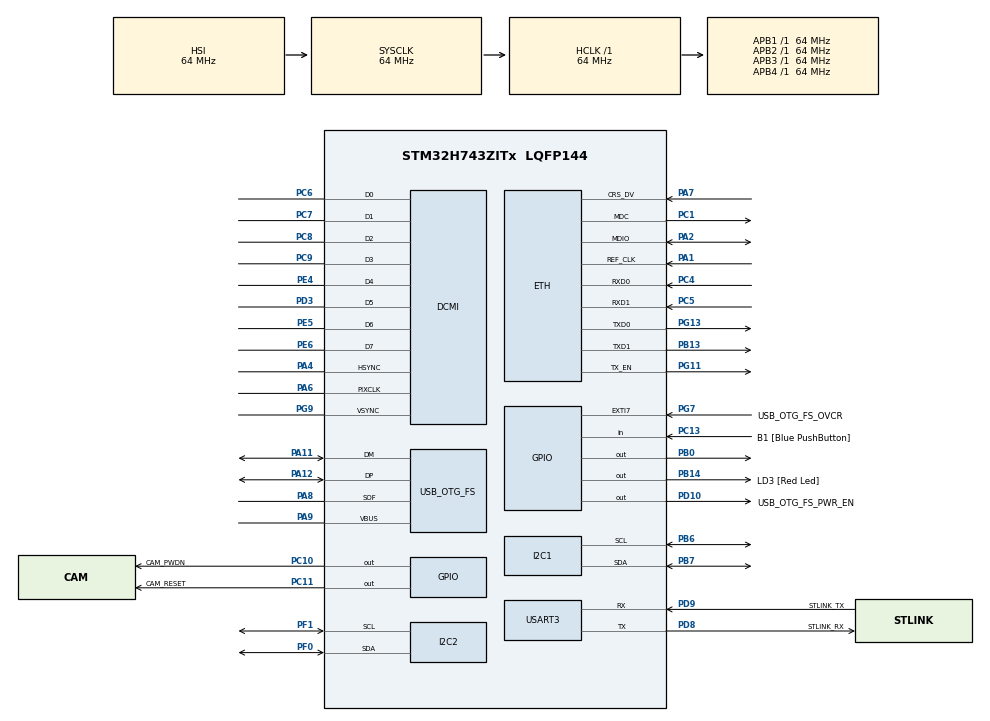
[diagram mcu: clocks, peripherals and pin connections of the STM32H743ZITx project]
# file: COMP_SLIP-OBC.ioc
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DCMI.HSPolarity=DCMI_HSPOLARITY_LOW
DCMI.JPEGMode=DCMI_JPEG_ENABLE
DCMI.PCKPolarity=DCMI_PCKPOLARITY_RISING
DCMI.VSPolarity=DCMI_VSPOLARITY_LOW
Dma.DCMI.0.Direction=DMA_PERIPH_TO_MEMORY
Dma.DCMI.0.EventEnable=DISABLE
Dma.DCMI.0.FIFOMode=DMA_FIFOMODE_ENABLE
Dma.DCMI.0.FIFOThreshold=DMA_FIFO_THRESHOLD_FULL
Dma.DCMI.0.Instance=DMA1_Stream0
Dma.DCMI.0.MemBurst=DMA_MBURST_SINGLE
Dma.DCMI.0.MemDataAlignment=DMA_MDATAALIGN_BYTE
Dma.DCMI.0.MemInc=DMA_MINC_ENABLE
Dma.DCMI.0.Mode=DMA_CIRCULAR
Dma.DCMI.0.PeriphBurst=DMA_PBURST_SINGLE
Dma.DCMI.0.PeriphDataAlignment=DMA_PDATAALIGN_WORD
Dma.DCMI.0.PeriphInc=DMA_PINC_DISABLE
Dma.DCMI.0.Polarity=HAL_DMAMUX_REQ_GEN_RISING
Dma.DCMI.0.Priority=DMA_PRIORITY_VERY_HIGH
Dma.DCMI.0.RequestNumber=1
Dma.DCMI.0.SignalID=NONE
Dma.DCMI.0.SyncEnable=DISABLE
Dma.DCMI.0.SyncPolarity=HAL_DMAMUX_SYNC_NO_EVENT
Dma.DCMI.0.SyncRequestNumber=1
Dma.DCMI.0.SyncSignalID=NONE
Dma.Request0=DCMI
ETH.MediaInterface=HAL_ETH_RMII_MODE
I2C2.CustomTiming=Enabled
Mcu.Family=STM32H7
Mcu.Name=STM32H743ZITx
Mcu.Package=LQFP144
NVIC.DCMI_IRQn=true\:0\:0\:false\:false\:true\:true\:true\:true
NVIC.DMA1_Stream0_IRQn=true\:0\:0\:false\:false\:true\:false\:true\:true
NVIC.PriorityGroup=NVIC_PRIORITYGROUP_4
PA1.Mode=RMII
PA1.Signal=ETH_REF_CLK
PA11.Mode=Device_Only
PA11.Signal=USB_OTG_FS_DM
PA12.Mode=Device_Only
PA12.Signal=USB_OTG_FS_DP
PA2.Mode=RMII
PA2.Signal=ETH_MDIO
PA4.GPIO_PuPd=GPIO_NOPULL
PA4.GPIO_Speed=GPIO_SPEED_FREQ_VERY_HIGH
PA4.Mode=Slave_8_bits_External_Synchro
PA4.Signal=DCMI_HSYNC
PA6.GPIO_PuPd=GPIO_NOPULL
PA6.GPIO_Speed=GPIO_SPEED_FREQ_VERY_HIGH
PA6.Mode=Slave_8_bits_External_Synchro
PA6.Signal=DCMI_PIXCLK
PA7.Mode=RMII
PA7.Signal=ETH_CRS_DV
PA8.Mode=Activate_SOF_FS
PA8.Signal=USB_OTG_FS_SOF
PA9.Mode=Activate_VBUS
PA9.Signal=USB_OTG_FS_VBUS
PB0.Signal=GPIO_Output
PB13.Mode=RMII
PB13.Signal=ETH_TXD1
PB14.GPIO_Label=LD3 [Red Led]
PB14.Signal=GPIO_Output
PB6.GPIO_Pu=GPIO_PULLUP
PB6.Mode=I2C
PB6.Signal=I2C1_SCL
PB7.GPIO_Pu=GPIO_PULLUP
PB7.Mode=I2C
PB7.Signal=I2C1_SDA
PC1.Mode=RMII
PC1.Signal=ETH_MDC
PC10.GPIO_Label=CAM_PWDN
PC10.GPIO_Speed=GPIO_SPEED_FREQ_MEDIUM
PC10.PinState=GPIO_PIN_SET
PC10.Signal=GPIO_Output
PC11.GPIO_Label=CAM_RESET
PC11.GPIO_Speed=GPIO_SPEED_FREQ_MEDIUM
PC11.Signal=GPIO_Output
PC13.GPIO_Label=B1 [Blue PushButton]
PC13.PinAttribute=Free
PC13.Signal=GPIO_Input
PC14-OSC32_IN\ (OSC32_IN).Mode=LSE-External-Oscillator
PC14-OSC32_IN\ (OSC32_IN).PinAttribute=Free
PC14-OSC32_IN\ (OSC32_IN).Signal=RCC_OSC32_IN
PC15-OSC32_OUT\ (OSC32_OUT).Mode=LSE-External-Oscillator
PC15-OSC32_OUT\ (OSC32_OUT).PinAttribute=Free
PC15-OSC32_OUT\ (OSC32_OUT).Signal=RCC_OSC32_OUT
PC4.Mode=RMII
PC4.Signal=ETH_RXD0
PC5.Mode=RMII
PC5.Signal=ETH_RXD1
PC6.GPIO_PuPd=GPIO_NOPULL
PC6.GPIO_Speed=GPIO_SPEED_FREQ_VERY_HIGH
PC6.Mode=Slave_8_bits_External_Synchro
PC6.Signal=DCMI_D0
PC7.GPIO_PuPd=GPIO_NOPULL
PC7.GPIO_Speed=GPIO_SPEED_FREQ_VERY_HIGH
PC7.Mode=Slave_8_bits_External_Synchro
PC7.Signal=DCMI_D1
PC8.GPIO_PuPd=GPIO_NOPULL
PC8.GPIO_Speed=GPIO_SPEED_FREQ_VERY_HIGH
PC8.Mode=Slave_8_bits_External_Synchro
PC8.Signal=DCMI_D2
PC9.GPIO_PuPd=GPIO_NOPULL
PC9.GPIO_Speed=GPIO_SPEED_FREQ_VERY_HIGH
PC9.Mode=Slave_8_bits_External_Synchro
PC9.Signal=DCMI_D3
PD10.GPIO_Label=USB_OTG_FS_PWR_EN
PD10.Signal=GPIO_Output
PD3.GPIO_PuPd=GPIO_NOPULL
PD3.GPIO_Speed=GPIO_SPEED_FREQ_VERY_HIGH
PD3.Mode=Slave_8_bits_External_Synchro
PD3.Signal=DCMI_D5
PD8.GPIO_Label=STLINK_RX
PD8.Mode=Asynchronous
PD8.Signal=USART3_TX
PD9.GPIO_Label=STLINK_TX
PD9.Mode=Asynchronous
PD9.Signal=USART3_RX
PE4.GPIO_PuPd=GPIO_NOPULL
PE4.GPIO_Speed=GPIO_SPEED_FREQ_VERY_HIGH
PE4.Mode=Slave_8_bits_External_Synchro
PE4.Signal=DCMI_D4
PE5.GPIO_PuPd=GPIO_NOPULL
PE5.GPIO_Speed=GPIO_SPEED_FREQ_VERY_HIGH
PE5.Mode=Slave_8_bits_External_Synchro
PE5.Signal=DCMI_D6
PE6.GPIO_PuPd=GPIO_NOPULL
PE6.GPIO_Speed=GPIO_SPEED_FREQ_VERY_HIGH
PE6.Mode=Slave_8_bits_External_Synchro
PE6.PinAttribute=Free
PE6.Signal=DCMI_D7
PF0.Mode=I2C
PF0.PinAttribute=Free
PF0.Signal=I2C2_SDA
PF1.Mode=I2C
PF1.Signal=I2C2_SCL
PG11.Mode=RMII
PG11.Signal=ETH_TX_EN
PG13.Mode=RMII
PG13.Signal=ETH_TXD0
PG7.GPIO_Label=USB_OTG_FS_OVCR
PG7.Signal=GPXTI7
PG9.GPIO_PuPd=GPIO_NOPULL
PG9.GPIO_Speed=GPIO_SPEED_FREQ_VERY_HIGH
PG9.Mode=Slave_8_bits_External_Synchro
PG9.Signal=DCMI_VSYNC
PH0-OSC_IN\ (PH0).Mode=HSE-External-Clock-Source
PH0-OSC_IN\ (PH0).Signal=RCC_OSC_IN
PH1-OSC_OUT\ (PH1).Signal=RCC_OSC_OUT
ProjectManager.HeapSize=0x200
ProjectManager.StackSize=0x400
ProjectManager.TargetToolchain=STM32CubeIDE
RCC.ADCFreq_Value=16125000
RCC.APB1Freq_Value=64000000
RCC.APB2Freq_Value=64000000
RCC.APB3Freq_Value=64000000
RCC.APB4Freq_Value=64000000
RCC.CortexFreq_Value=64000000
RCC.DIVM1=1
RCC.DIVN1=19
RCC.DIVQ1=3
RCC.HCLKFreq_Value=64000000
RCC.HSE_VALUE=8000000
RCC.PLL2_VCI_Range-AdvancedSettings=RCC_PLL2VCIRANGE_0
RCC.PLLFRACN=0
RCC.PWR_Regulator_Voltage_Scale=PWR_REGULATOR_VOLTAGE_SCALE2
RCC.RCC_MCO2Source=RCC_MCO2SOURCE_PLLCLK
RCC.RCC_MCODiv2=RCC_MCODIV_4
RCC.SYSCLKFreq_VALUE=64000000
RCC.USBFreq_Value=50666666.666666664
USART3.VirtualMode-Asynchronous=VM_ASYNC
USB_OTG_FS.VirtualMode=Device_Only
board=NUCLEO-H743ZI2

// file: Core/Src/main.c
/* USER CODE BEGIN Header */
/**
  ******************************************************************************
  * @file           : main.c
  * @brief          : Main program body
  ******************************************************************************
  * @attention
  *
  * Copyright (c) 2025 STMicroelectronics.
  * All rights reserved.
  *
  * This software is licensed under terms that can be found in the LICENSE file
  * in the root directory of this software component.
  * If no LICENSE file comes with this software, it is provided AS-IS.
  *
  ******************************************************************************
  */
/* USER CODE END Header */
#include "main.h"
#include "string.h"

/* USER CODE BEGIN Includes */
#include "string.h"
#include <stdio.h>
#include "retarget.h"
#include <stdint.h>
#include <stdlib.h>
#include <time.h>
#include "camera.h"
/* USER CODE END Includes */

#if defined ( __ICCARM__ ) /*!< IAR Compiler */
#pragma location=0x30000000
ETH_DMADescTypeDef  DMARxDscrTab[ETH_RX_DESC_CNT]; /* Ethernet Rx DMA Descriptors */
#pragma location=0x30000200
ETH_DMADescTypeDef  DMATxDscrTab[ETH_TX_DESC_CNT]; /* Ethernet Tx DMA Descriptors */

#elif defined ( __CC_ARM )  /* MDK ARM Compiler */

__attribute__((at(0x30000000))) ETH_DMADescTypeDef  DMARxDscrTab[ETH_RX_DESC_CNT]; /* Ethernet Rx DMA Descriptors */
__attribute__((at(0x30000200))) ETH_DMADescTypeDef  DMATxDscrTab[ETH_TX_DESC_CNT]; /* Ethernet Tx DMA Descriptors */

#elif defined ( __GNUC__ ) /* GNU Compiler */

ETH_DMADescTypeDef DMARxDscrTab[ETH_RX_DESC_CNT] __attribute__((section(".RxDecripSection"))); /* Ethernet Rx DMA Descriptors */
ETH_DMADescTypeDef DMATxDscrTab[ETH_TX_DESC_CNT] __attribute__((section(".TxDecripSection")));   /* Ethernet Tx DMA Descriptors */
#endif

ETH_TxPacketConfig TxConfig;

DCMI_HandleTypeDef hdcmi;
DMA_HandleTypeDef hdma_dcmi;

ETH_HandleTypeDef heth;

I2C_HandleTypeDef hi2c1;
I2C_HandleTypeDef hi2c2;

UART_HandleTypeDef huart3;

PCD_HandleTypeDef hpcd_USB_OTG_FS;

void SystemClock_Config(void);
static void MX_GPIO_Init(void);
static void MX_DMA_Init(void);
static void MX_ETH_Init(void);
static void MX_USART3_UART_Init(void);
static void MX_USB_OTG_FS_PCD_Init(void);
static void MX_DCMI_Init(void);
static void MX_I2C1_Init(void);
static void MX_I2C2_Init(void);

int main(void)
{

  /* USER CODE BEGIN 1 */
	//char buf[100];
  /* USER CODE END 1 */

  /* MCU Configuration--------------------------------------------------------*/

  /* Reset of all peripherals, Initializes the Flash interface and the Systick. */
  HAL_Init();

  /* Configure the system clock */
  SystemClock_Config();

  /* Initialize all configured peripherals */
  MX_GPIO_Init();
  MX_DMA_Init();
  MX_ETH_Init();
  MX_USART3_UART_Init();
  MX_USB_OTG_FS_PCD_Init();
  MX_DCMI_Init();
  MX_I2C1_Init();
  MX_I2C2_Init();
  /* USER CODE BEGIN 2 */
  RetargetInit(&huart3);

  __HAL_DCMI_ENABLE_IT(&hdcmi, DCMI_IT_FRAME);

  HAL_GPIO_WritePin(CAM_PWDN_GPIO_Port, CAM_PWDN_Pin, GPIO_PIN_RESET);  // Power ON
  HAL_GPIO_WritePin(CAM_RESET_GPIO_Port, CAM_RESET_Pin, GPIO_PIN_SET);  // Release Reset
  HAL_Delay(10);  // Give camera time to stabilize

  // DEBUG: Check if OV5640 responds

  HAL_StatusTypeDef ret1 = HAL_I2C_IsDeviceReady(&hi2c1, OV5640_I2C_ADDRESS, 3, 100);

  if (ret1 == HAL_OK) {
	  printf("\r\nfound camera");
  } else if (ret1 == HAL_ERROR) {
	  printf("\r\nerror");
  } else if (ret1 == HAL_BUSY) {
	  printf("\r\nbusy");
  }
  /*
	if (HAL_I2C_IsDeviceReady(&hi2c1, 0x78, 3, 100) == HAL_OK) {
	    printf("Camera found at 0x78\n");
	} else if (HAL_I2C_IsDeviceReady(&hi2c1, 0x7A, 3, 100) == HAL_OK) {
	    printf("Camera found at 0x7A\n");
	} else {
	    printf("Camera not responding at either address.\n");
	}*/

  volatile uint32_t jpeg_image_buffer[MAX_IMAGE_BUFFER_SIZE/4];

  Camera_t camera;

  configure_camera1(&camera, jpeg_image_buffer);

  printf("\r\nconfigured camera");

  uint8_t tmp1 = 0x80;
  ov5640_write_reg(&camera.cameraHandle.Ctx, OV5640_SYSTEM_CTROL0, &tmp1, 1);
  HAL_Delay(10);

  uint32_t camera_id;
  int32_t status = OV5640_ReadID(&camera.cameraHandle, &camera_id);
  if (status == OV5640_OK) {
      printf("Camera ID: 0x%04X\r\n", camera_id);
  } else {
      printf("Failed to read camera ID\r\n");
  }

  uint8_t chip_id_high = 0, chip_id_low = 0;

  status = HAL_I2C_Mem_Read(&hi2c1, OV5640_I2C_ADDRESS, 0x300A, I2C_MEMADD_SIZE_16BIT, &chip_id_high, 1, 1000);
  if(status == HAL_OK) {
      status = HAL_I2C_Mem_Read(&hi2c1, OV5640_I2C_ADDRESS, 0x300B, I2C_MEMADD_SIZE_16BIT, &chip_id_low, 1, 1000);
  }
  if(status == HAL_OK) {
      printf("Chip ID: 0x%02X%02X\n", chip_id_high, chip_id_low);
  } else {
      printf("Failed to read chip ID\n");
  }

  camera_init(&camera);

//  if (OV5640_SetResolution(&camera.cameraHandle, OV5640_R160x120) == OV5640_OK){
//	  printf("\r\nSet Resolution to: 160x120");
//  }

  uint32_t Resolution;

  status = OV5640_GetResolution(&camera.cameraHandle, &Resolution);

	  printf("\r\nCamera Resolution: 0x%08X\n", Resolution);

  uint32_t pixelFormat;

  status = OV5640_GetPixelFormat(&camera.cameraHandle, &pixelFormat);
  printf("Pixel Format: 0x%08X\n", pixelFormat);

//  OV5640_SetPolarities(&camera.cameraHandle, OV5640_POLARITY_PCLK_HIGH, OV5640_POLARITY_HREF_LOW,OV5640_POLARITY_VSYNC_LOW);

//  uint8_t tmp = 0;
//  HAL_StatusTypeDef ret;
//
  uint32_t pclkPolarity, HrefPolarity, VsyncPolarity;
//
//  HAL_I2C_Mem_Read(&hi2c1, OV5640_I2C_ADDRESS, 0x4740, I2C_MEMADD_SIZE_16BIT, &tmp, 1, 1000);
//  // Clear bits 5, 1, 0
//  tmp &= ~((1 << 5) | (1 << 1) | (1 << 0));
//
//  pclkPolarity = OV5640_POLARITY_PCLK_HIGH;
//  HrefPolarity = OV5640_POLARITY_HREF_LOW;
//  VsyncPolarity = OV5640_POLARITY_VSYNC_LOW;
//
//
//  printf("pclkPolarity: %lu\n", pclkPolarity);
//  printf("HrefPolarity: %lu\n", HrefPolarity);
//  printf("VsyncPolarity: %lu\n", VsyncPolarity);
//  // PclkPolarity: 0 or 1 for low/high
//  tmp |= (pclkPolarity & 0x01) << 5;
//
//  // HrefPolarity: 0 or 1 for low/high
//  tmp |= (HrefPolarity & 0x01) << 1;
//
//  // VsyncPolarity: 0 or 1 for low/high
//  tmp |= (VsyncPolarity & 0x01);

//  tmp = 0x20 ;

  // POLARITIES
//  tmp = 0x20;
  // Bits 7,6,3,2 left as zero for now

  // Write register 0x4740
//  if (ov5640_write_reg(&camera.cameraHandle.Ctx, 0x4740, &tmp, 1) != OV5640_OK)
//  {
//      ret = OV5640_ERROR;
//  }
//
//  HAL_Delay(50);  // 50 ms delay before verify read
//
//  uint8_t verify = 0;
//  if (ov5640_read_reg(&camera.cameraHandle.Ctx, 0x4740, &verify, 1) == OV5640_OK)
//  {
//      printf("POLARITY_CTRL00 after write: 0x%02X\n", verify);
//  }
//  else
//  {
//      printf("Failed to read POLARITY_CTRL00\n");
//  }

  if (OV5640_GetPolarities(&camera.cameraHandle, &pclkPolarity, &HrefPolarity, &VsyncPolarity) == OV5640_OK) {
      printf("\r\nPCLK Polarity: %lu\n", pclkPolarity);
      printf("\r\nHREF Polarity: %lu\n", HrefPolarity);
      printf("\r\nVSYNC Polarity: %lu\n", VsyncPolarity);
  } else {
      printf("Error getting polarities\n");
  }

  capture_snapshot(&camera);

  for (int i = 0; i < 10; i++) {
      printf("%02X ", jpeg_image_buffer[i]);
  }
  printf("\n");

//  printf("\r\ninitialized camera");
//
//  uint32_t status;
//
//  status = capture_snapshot(&camera);
//
//  if (jpeg_image_buffer[0] == 0xFF) {
//	  printf("found jpeg start");
//  }
//
////  if (status == HAL_ERROR) {
////	  printf("")
////  }
//
//  //printf(getImageSize(&camera));
//
//  printf("image capture should be finished");

  /* USER CODE END 2 */

  /* Infinite loop */
  /* USER CODE BEGIN WHILE */
  while (1)
  {
	    __WFI();
//	  if (image_capture_flag == 1) {
//		  for (size_t i = 0; i < image_size; ++i) {
//		      printf("%c", (char)jpeg_image[i]);
//
//		      // Stop immediately after 0xFFD9
//		      if (i >= 1 && jpeg_image[i - 1] == 0xFF && jpeg_image[i] == 0xD9) {
//		          break;
//		      }
//		  }
//		  image_capture_flag = 0;
//	  }
    /* USER CODE END WHILE */

    /* USER CODE BEGIN 3 */
//	printf("\r\nYour name: ");
//	scanf("%s", buf);
//	printf("\r\nHello, %s!\r\n", buff);

  }
  /* USER CODE END 3 */
}

void SystemClock_Config(void)
{
  RCC_OscInitTypeDef RCC_OscInitStruct = {0};
  RCC_ClkInitTypeDef RCC_ClkInitStruct = {0};

  /** Supply configuration update enable
  */
  HAL_PWREx_ConfigSupply(PWR_LDO_SUPPLY);

  /** Configure the main internal regulator output voltage
  */
  __HAL_PWR_VOLTAGESCALING_CONFIG(PWR_REGULATOR_VOLTAGE_SCALE2);

  while(!__HAL_PWR_GET_FLAG(PWR_FLAG_VOSRDY)) {}

  /** Initializes the RCC Oscillators according to the specified parameters
  * in the RCC_OscInitTypeDef structure.
  */
  RCC_OscInitStruct.OscillatorType = RCC_OSCILLATORTYPE_HSI|RCC_OSCILLATORTYPE_HSE;
  RCC_OscInitStruct.HSEState = RCC_HSE_BYPASS;
  RCC_OscInitStruct.HSIState = RCC_HSI_DIV1;
  RCC_OscInitStruct.HSICalibrationValue = RCC_HSICALIBRATION_DEFAULT;
  RCC_OscInitStruct.PLL.PLLState = RCC_PLL_ON;
  RCC_OscInitStruct.PLL.PLLSource = RCC_PLLSOURCE_HSE;
  RCC_OscInitStruct.PLL.PLLM = 1;
  RCC_OscInitStruct.PLL.PLLN = 19;
  RCC_OscInitStruct.PLL.PLLP = 2;
  RCC_OscInitStruct.PLL.PLLQ = 3;
  RCC_OscInitStruct.PLL.PLLR = 2;
  RCC_OscInitStruct.PLL.PLLRGE = RCC_PLL1VCIRANGE_3;
  RCC_OscInitStruct.PLL.PLLVCOSEL = RCC_PLL1VCOMEDIUM;
  RCC_OscInitStruct.PLL.PLLFRACN = 0;
  if (HAL_RCC_OscConfig(&RCC_OscInitStruct) != HAL_OK)
  {
    Error_Handler();
  }

  /** Initializes the CPU, AHB and APB buses clocks
  */
  RCC_ClkInitStruct.ClockType = RCC_CLOCKTYPE_HCLK|RCC_CLOCKTYPE_SYSCLK
                              |RCC_CLOCKTYPE_PCLK1|RCC_CLOCKTYPE_PCLK2
                              |RCC_CLOCKTYPE_D3PCLK1|RCC_CLOCKTYPE_D1PCLK1;
  RCC_ClkInitStruct.SYSCLKSource = RCC_SYSCLKSOURCE_HSI;
  RCC_ClkInitStruct.SYSCLKDivider = RCC_SYSCLK_DIV1;
  RCC_ClkInitStruct.AHBCLKDivider = RCC_HCLK_DIV1;
  RCC_ClkInitStruct.APB3CLKDivider = RCC_APB3_DIV1;
  RCC_ClkInitStruct.APB1CLKDivider = RCC_APB1_DIV1;
  RCC_ClkInitStruct.APB2CLKDivider = RCC_APB2_DIV1;
  RCC_ClkInitStruct.APB4CLKDivider = RCC_APB4_DIV1;

  if (HAL_RCC_ClockConfig(&RCC_ClkInitStruct, FLASH_LATENCY_1) != HAL_OK)
  {
    Error_Handler();
  }
}

static void MX_DCMI_Init(void)
{

  hdcmi.Instance = DCMI;
  hdcmi.Init.SynchroMode = DCMI_SYNCHRO_HARDWARE;
  hdcmi.Init.PCKPolarity = DCMI_PCKPOLARITY_RISING;
  hdcmi.Init.VSPolarity = DCMI_VSPOLARITY_LOW;
  hdcmi.Init.HSPolarity = DCMI_HSPOLARITY_LOW;
  hdcmi.Init.CaptureRate = DCMI_CR_ALL_FRAME;
  hdcmi.Init.ExtendedDataMode = DCMI_EXTEND_DATA_8B;
  hdcmi.Init.JPEGMode = DCMI_JPEG_ENABLE;
  hdcmi.Init.ByteSelectMode = DCMI_BSM_ALL;
  hdcmi.Init.ByteSelectStart = DCMI_OEBS_ODD;
  hdcmi.Init.LineSelectMode = DCMI_LSM_ALL;
  hdcmi.Init.LineSelectStart = DCMI_OELS_ODD;
  if (HAL_DCMI_Init(&hdcmi) != HAL_OK)
  {
    Error_Handler();
  }

}

static void MX_ETH_Init(void)
{

   static uint8_t MACAddr[6];

  heth.Instance = ETH;
  MACAddr[0] = 0x00;
  MACAddr[1] = 0x80;
  MACAddr[2] = 0xE1;
  MACAddr[3] = 0x00;
  MACAddr[4] = 0x00;
  MACAddr[5] = 0x00;
  heth.Init.MACAddr = &MACAddr[0];
  heth.Init.MediaInterface = HAL_ETH_RMII_MODE;
  heth.Init.TxDesc = DMATxDscrTab;
  heth.Init.RxDesc = DMARxDscrTab;
  heth.Init.RxBuffLen = 1524;

  if (HAL_ETH_Init(&heth) != HAL_OK)
  {
    Error_Handler();
  }

  memset(&TxConfig, 0 , sizeof(ETH_TxPacketConfig));
  TxConfig.Attributes = ETH_TX_PACKETS_FEATURES_CSUM | ETH_TX_PACKETS_FEATURES_CRCPAD;
  TxConfig.ChecksumCtrl = ETH_CHECKSUM_IPHDR_PAYLOAD_INSERT_PHDR_CALC;
  TxConfig.CRCPadCtrl = ETH_CRC_PAD_INSERT;

}

static void MX_I2C1_Init(void)
{

  hi2c1.Instance = I2C1;
  hi2c1.Init.Timing = 0x10707DBC;
  hi2c1.Init.OwnAddress1 = 0;
  hi2c1.Init.AddressingMode = I2C_ADDRESSINGMODE_7BIT;
  hi2c1.Init.DualAddressMode = I2C_DUALADDRESS_DISABLE;
  hi2c1.Init.OwnAddress2 = 0;
  hi2c1.Init.OwnAddress2Masks = I2C_OA2_NOMASK;
  hi2c1.Init.GeneralCallMode = I2C_GENERALCALL_DISABLE;
  hi2c1.Init.NoStretchMode = I2C_NOSTRETCH_DISABLE;
  if (HAL_I2C_Init(&hi2c1) != HAL_OK)
  {
    Error_Handler();
  }

  /** Configure Analogue filter
  */
  if (HAL_I2CEx_ConfigAnalogFilter(&hi2c1, I2C_ANALOGFILTER_ENABLE) != HAL_OK)
  {
    Error_Handler();
  }

  /** Configure Digital filter
  */
  if (HAL_I2CEx_ConfigDigitalFilter(&hi2c1, 0) != HAL_OK)
  {
    Error_Handler();
  }

}

static void MX_I2C2_Init(void)
{

  hi2c2.Instance = I2C2;
  hi2c2.Init.Timing = 0x10707DBC;
  hi2c2.Init.OwnAddress1 = 0;
  hi2c2.Init.AddressingMode = I2C_ADDRESSINGMODE_7BIT;
  hi2c2.Init.DualAddressMode = I2C_DUALADDRESS_DISABLE;
  hi2c2.Init.OwnAddress2 = 0;
  hi2c2.Init.OwnAddress2Masks = I2C_OA2_NOMASK;
  hi2c2.Init.GeneralCallMode = I2C_GENERALCALL_DISABLE;
  hi2c2.Init.NoStretchMode = I2C_NOSTRETCH_DISABLE;
  if (HAL_I2C_Init(&hi2c2) != HAL_OK)
  {
    Error_Handler();
  }

  /** Configure Analogue filter
  */
  if (HAL_I2CEx_ConfigAnalogFilter(&hi2c2, I2C_ANALOGFILTER_ENABLE) != HAL_OK)
  {
    Error_Handler();
  }

  /** Configure Digital filter
  */
  if (HAL_I2CEx_ConfigDigitalFilter(&hi2c2, 0) != HAL_OK)
  {
    Error_Handler();
  }

}

static void MX_USART3_UART_Init(void)
{

  huart3.Instance = USART3;
  huart3.Init.BaudRate = 115200;
  huart3.Init.WordLength = UART_WORDLENGTH_8B;
  huart3.Init.StopBits = UART_STOPBITS_1;
  huart3.Init.Parity = UART_PARITY_NONE;
  huart3.Init.Mode = UART_MODE_TX_RX;
  huart3.Init.HwFlowCtl = UART_HWCONTROL_NONE;
  huart3.Init.OverSampling = UART_OVERSAMPLING_16;
  huart3.Init.OneBitSampling = UART_ONE_BIT_SAMPLE_DISABLE;
  huart3.Init.ClockPrescaler = UART_PRESCALER_DIV1;
  huart3.AdvancedInit.AdvFeatureInit = UART_ADVFEATURE_NO_INIT;
  if (HAL_UART_Init(&huart3) != HAL_OK)
  {
    Error_Handler();
  }
  if (HAL_UARTEx_SetTxFifoThreshold(&huart3, UART_TXFIFO_THRESHOLD_1_8) != HAL_OK)
  {
    Error_Handler();
  }
  if (HAL_UARTEx_SetRxFifoThreshold(&huart3, UART_RXFIFO_THRESHOLD_1_8) != HAL_OK)
  {
    Error_Handler();
  }
  if (HAL_UARTEx_DisableFifoMode(&huart3) != HAL_OK)
  {
    Error_Handler();
  }

}

static void MX_USB_OTG_FS_PCD_Init(void)
{

  hpcd_USB_OTG_FS.Instance = USB_OTG_FS;
  hpcd_USB_OTG_FS.Init.dev_endpoints = 9;
  hpcd_USB_OTG_FS.Init.speed = PCD_SPEED_FULL;
  hpcd_USB_OTG_FS.Init.dma_enable = DISABLE;
  hpcd_USB_OTG_FS.Init.phy_itface = PCD_PHY_EMBEDDED;
  hpcd_USB_OTG_FS.Init.Sof_enable = ENABLE;
  hpcd_USB_OTG_FS.Init.low_power_enable = DISABLE;
  hpcd_USB_OTG_FS.Init.lpm_enable = DISABLE;
  hpcd_USB_OTG_FS.Init.battery_charging_enable = ENABLE;
  hpcd_USB_OTG_FS.Init.vbus_sensing_enable = ENABLE;
  hpcd_USB_OTG_FS.Init.use_dedicated_ep1 = DISABLE;
  if (HAL_PCD_Init(&hpcd_USB_OTG_FS) != HAL_OK)
  {
    Error_Handler();
  }

}

static void MX_DMA_Init(void)
{

  /* DMA controller clock enable */
  __HAL_RCC_DMA1_CLK_ENABLE();

  /* DMA interrupt init */
  /* DMA1_Stream0_IRQn interrupt configuration */
  HAL_NVIC_SetPriority(DMA1_Stream0_IRQn, 0, 0);
  HAL_NVIC_EnableIRQ(DMA1_Stream0_IRQn);

}

static void MX_GPIO_Init(void)
{
  GPIO_InitTypeDef GPIO_InitStruct = {0};

  /* GPIO Ports Clock Enable */
  __HAL_RCC_GPIOE_CLK_ENABLE();
  __HAL_RCC_GPIOC_CLK_ENABLE();
  __HAL_RCC_GPIOF_CLK_ENABLE();
  __HAL_RCC_GPIOH_CLK_ENABLE();
  __HAL_RCC_GPIOA_CLK_ENABLE();
  __HAL_RCC_GPIOB_CLK_ENABLE();
  __HAL_RCC_GPIOD_CLK_ENABLE();
  __HAL_RCC_GPIOG_CLK_ENABLE();

  /*Configure GPIO pin Output Level */
  HAL_GPIO_WritePin(GPIOB, GPIO_PIN_0|LD3_Pin, GPIO_PIN_RESET);

  /*Configure GPIO pin Output Level */
  HAL_GPIO_WritePin(USB_OTG_FS_PWR_EN_GPIO_Port, USB_OTG_FS_PWR_EN_Pin, GPIO_PIN_RESET);

  /*Configure GPIO pin Output Level */
  HAL_GPIO_WritePin(CAM_PWDN_GPIO_Port, CAM_PWDN_Pin, GPIO_PIN_SET);

  /*Configure GPIO pin Output Level */
  HAL_GPIO_WritePin(CAM_RESET_GPIO_Port, CAM_RESET_Pin, GPIO_PIN_RESET);

  /*Configure GPIO pin : B1_Pin */
  GPIO_InitStruct.Pin = B1_Pin;
  GPIO_InitStruct.Mode = GPIO_MODE_INPUT;
  GPIO_InitStruct.Pull = GPIO_NOPULL;
  HAL_GPIO_Init(B1_GPIO_Port, &GPIO_InitStruct);

  /*Configure GPIO pins : PB0 LD3_Pin */
  GPIO_InitStruct.Pin = GPIO_PIN_0|LD3_Pin;
  GPIO_InitStruct.Mode = GPIO_MODE_OUTPUT_PP;
  GPIO_InitStruct.Pull = GPIO_NOPULL;
  GPIO_InitStruct.Speed = GPIO_SPEED_FREQ_LOW;
  HAL_GPIO_Init(GPIOB, &GPIO_InitStruct);

  /*Configure GPIO pin : USB_OTG_FS_PWR_EN_Pin */
  GPIO_InitStruct.Pin = USB_OTG_FS_PWR_EN_Pin;
  GPIO_InitStruct.Mode = GPIO_MODE_OUTPUT_PP;
  GPIO_InitStruct.Pull = GPIO_NOPULL;
  GPIO_InitStruct.Speed = GPIO_SPEED_FREQ_LOW;
  HAL_GPIO_Init(USB_OTG_FS_PWR_EN_GPIO_Port, &GPIO_InitStruct);

  /*Configure GPIO pin : USB_OTG_FS_OVCR_Pin */
  GPIO_InitStruct.Pin = USB_OTG_FS_OVCR_Pin;
  GPIO_InitStruct.Mode = GPIO_MODE_IT_RISING;
  GPIO_InitStruct.Pull = GPIO_NOPULL;
  HAL_GPIO_Init(USB_OTG_FS_OVCR_GPIO_Port, &GPIO_InitStruct);

  /*Configure GPIO pins : CAM_PWDN_Pin CAM_RESET_Pin */
  GPIO_InitStruct.Pin = CAM_PWDN_Pin|CAM_RESET_Pin;
  GPIO_InitStruct.Mode = GPIO_MODE_OUTPUT_PP;
  GPIO_InitStruct.Pull = GPIO_NOPULL;
  GPIO_InitStruct.Speed = GPIO_SPEED_FREQ_MEDIUM;
  HAL_GPIO_Init(GPIOC, &GPIO_InitStruct);

}

void Error_Handler(void)
{
  __disable_irq();
  while (1)
  {
  }
}
